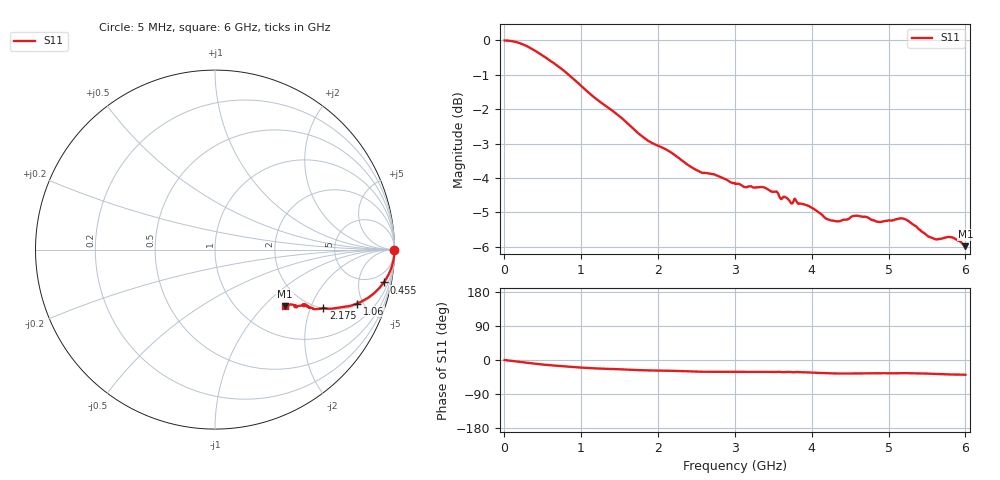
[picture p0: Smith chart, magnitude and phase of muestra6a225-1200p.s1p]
# Hz S RI R 50.000000
! Metas.Vna.Tools, 3.0.9519.15400
! Metas.Vna.Data, 3.0.9519.15360
! Created: UTC 2026.10.24 14:53:31
! FREQ  re:S1,1  im:S1,1
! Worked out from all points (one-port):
!   1200 points, 5 MHz to 6 GHz, reference 50 ohm
!   lowest |S11| = -6.0 dB at 6 GHz (marker M1), VSWR 3.01, Z = 79.3 - j66.9 ohm
!   |S11| at or under -10 dB: nowhere
!   S11 on the Smith chart (normalised r, x): 5 MHz: open; 455 MHz: 2, -10; 1.06 GHz: 2.12, -4.50; 2.175 GHz: 2.00, -2.48; 6 GHz: 1.59, -1.34
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5000000  0.9999 -0.00227
2.15e8  0.9853 -0.0939
4.55e8  0.9402 -0.183
5.95e8  0.9083 -0.2218
7.55e8  0.8707 -0.2557
1.06e9  0.7918 -0.3004
1.22e9  0.7562 -0.3123
1.505e9  0.7055 -0.3208
1.84e9  0.6387 -0.3296
2.175e9  0.6036 -0.3273
2.255e9  0.5914 -0.3285
2.54e9  0.5523 -0.3319
2.76e9  0.5457 -0.3279
3.005e9  0.5266 -0.324
3.395e9  0.5208 -0.3183
3.71e9  0.4981 -0.3055
3.755e9  0.4898 -0.3115
3.96e9  0.4827 -0.3112
4.24e9  0.4472 -0.3158
4.365e9  0.4433 -0.3185
4.505e9  0.4501 -0.3211
4.605e9  0.4539 -0.3201
4.88e9  0.4467 -0.3105
5.16e9  0.4527 -0.3139
5.255e9  0.4485 -0.3119
5.615e9  0.4105 -0.3083
5.79e9  0.4063 -0.3204
6e9  0.3902 -0.3156
